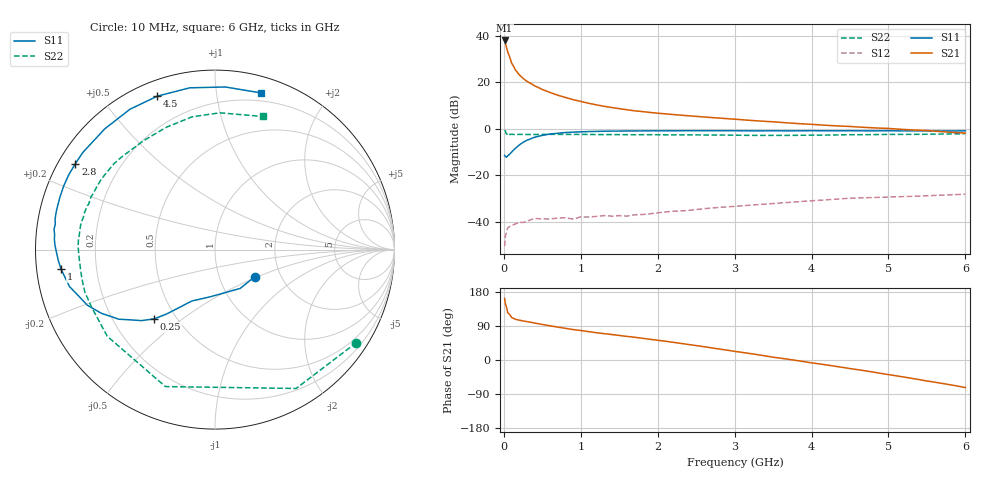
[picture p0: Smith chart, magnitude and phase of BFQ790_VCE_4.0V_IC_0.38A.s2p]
! (c) 2015  Infineon Technologies AG, Munich
! Infineon Technologies  Discrete & RF Semiconductors
! BFQ790
! VCE =  4.0 V,  IC = 0.38 A
! Common Emitter S-Parameters:  May 2015
# GHz  S  MA  R  50
!  f  S11  S21  S12  S22
! GHz  MAG  ANG  MAG  ANG  MAG  ANG  MAG  ANG
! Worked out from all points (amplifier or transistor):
!   77 points, 10 MHz to 6 GHz, reference 50 ohm
!   highest |S21| = 38.1 dB at 10 MHz (marker M1)
!   |S21| within 3 dB of that: start of sweep to 35.11 MHz
!   unconditionally stable (mu >= 1): 168.4 MHz to end of sweep
!   at 130 MHz: K = 0.87, MSG = 33.9 dB, |S12| = -41.1 dB
!   at 2.2 GHz: K = 1.36, MAG = 17.2 dB, |S12| = -35.4 dB
!   at 6 GHz: K = 1.10, MAG = 11.2 dB, |S12| = -28.1 dB
!   S11 on the Smith chart (normalised r, x): 10 MHz: 1.47, -0.48; 250 MHz: 0.38, -0.40; 1 GHz: 0.07, -0.06; 2.8 GHz: 0.05, +0.28; 4.5 GHz: 0.07, +0.69; 6 GHz: 0.13, +1.33
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0.01  0.2682 -34.4  79.9 162.3  0.003 68.9  0.943 -33.3
0.02  0.2577 -57.1  70.53 148.3  0.0049 57.2  0.8961 -59.7
0.05  0.2636 -95.4  45.18 124.7  0.0074 35.3  0.8116 -109.9
0.1  0.3147 -114.4  26.2 112.1  0.0084 23.0  0.7703 -141.2
0.15  0.3817 -121.9  18.55 107.4  0.009 23.7  0.7587 -155.0
0.2  0.4498 -127.0  14.63 105.1  0.0098 22.4  0.7627 -162.0
0.25  0.5139 -131.3  12.22 103.1  0.0097 20.0  0.7591 -166.6
0.3  0.5695 -136.0  10.53 101.3  0.0103 17.6  0.7578 -170.3
0.4  0.6616 -144.1  8.436 97.4  0.0119 17.5  0.7576 -175.4
0.5  0.7256 -150.7  7.048 93.7  0.0116 14.5  0.7603 -179.0
0.7  0.8056 -161.7  5.308 86.8  0.0121 17.4  0.7627 175.6
0.9  0.8511 -169.8  4.261 80.4  0.0115 11.4  0.7602 171.8
1  0.8652 -172.9  3.898 77.9  0.0128 14.3  0.7611 170.0
1.1  0.876 -176.3  3.568 74.9  0.0127 15.6  0.7597 168.2
1.5  0.8976 174.6  2.721 64.8  0.0136 17.9  0.7536 162.5
2.1  0.9103 163.4  2.104 49.5  0.0163 18.1  0.7461 153.7
2.8  0.9135 148.4  1.708 29.0  0.0205 12.1  0.7388 139.5
3.1  0.9106 141.5  1.571 20.0  0.0222 9.5  0.729 133.0
4.1  0.9117 119.1  1.222 -10.3  0.0291 -6.2  0.7346 109.2
4.5  0.9134 110.6  1.128 -22.6  0.0323 -13.4  0.7506 99.8
5.1  0.9079 96.4  0.996 -41.7  0.0346 -26.3  0.7617 85.9
6  0.9099 73.6  0.814 -72.7  0.0395 -47.5  0.7879 70.3
